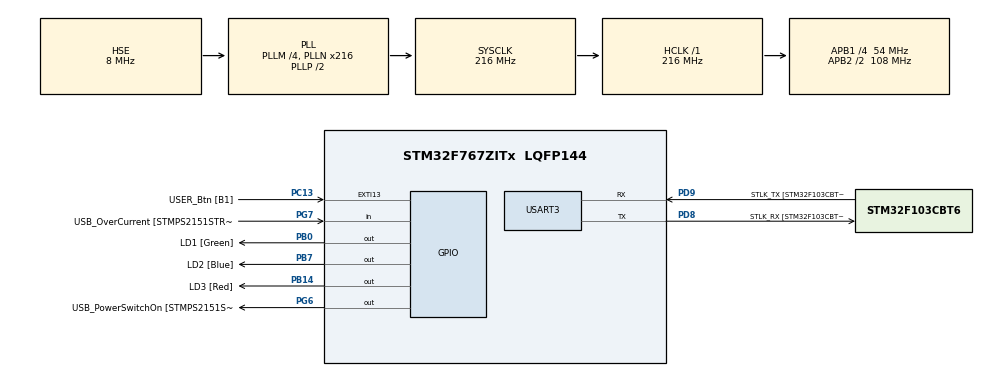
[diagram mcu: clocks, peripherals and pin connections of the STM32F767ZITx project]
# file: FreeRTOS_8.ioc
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FREERTOS.Tasks01=defaultTask,24,128,StartDefaultTask,Default,NULL,Dynamic,NULL,NULL
Mcu.Family=STM32F7
Mcu.Name=STM32F767ZITx
Mcu.Package=LQFP144
NVIC.PriorityGroup=NVIC_PRIORITYGROUP_4
PA1.GPIO_Label=RMII_REF_CLK [LAN8742A-CZ-TR_REFCLK0]
PA1.Signal=ETH_REF_CLK
PA10.GPIO_Label=USB_ID
PA10.Signal=USB_OTG_FS_ID
PA11.GPIO_Label=USB_DM
PA11.Signal=USB_OTG_FS_DM
PA12.GPIO_Label=USB_DP
PA12.Signal=USB_OTG_FS_DP
PA13.GPIO_Label=TMS
PA13.Mode=Serial_Wire
PA13.Signal=SYS_JTMS-SWDIO
PA14.GPIO_Label=TCK
PA14.Mode=Serial_Wire
PA14.Signal=SYS_JTCK-SWCLK
PA2.GPIO_Label=RMII_MDIO [LAN8742A-CZ-TR_MDIO]
PA2.Signal=ETH_MDIO
PA7.GPIO_Label=RMII_CRS_DV [LAN8742A-CZ-TR_CRS_DV]
PA7.Signal=ETH_CRS_DV
PA8.GPIO_Label=USB_SOF [TP1]
PA8.Signal=USB_OTG_FS_SOF
PA9.GPIO_Label=USB_VBUS
PA9.Signal=USB_OTG_FS_VBUS
PB0.GPIO_Label=LD1 [Green]
PB0.Signal=GPIO_Output
PB13.GPIO_Label=RMII_TXD1 [LAN8742A-CZ-TR_TXD1]
PB13.Signal=ETH_TXD1
PB14.GPIO_Label=LD3 [Red]
PB14.Signal=GPIO_Output
PB3.GPIO_Label=SWO
PB3.Signal=SYS_JTDO-SWO
PB7.GPIO_Label=LD2 [Blue]
PB7.Signal=GPIO_Output
PC1.GPIO_Label=RMII_MDC [LAN8742A-CZ-TR_MDC]
PC1.Signal=ETH_MDC
PC13.GPIO_Label=USER_Btn [B1]
PC13.Signal=GPXTI13
PC14/OSC32_IN.Signal=RCC_OSC32_IN
PC15/OSC32_OUT.Signal=RCC_OSC32_OUT
PC4.GPIO_Label=RMII_RXD0 [LAN8742A-CZ-TR_RXD0]
PC4.Signal=ETH_RXD0
PC5.GPIO_Label=RMII_RXD1 [LAN8742A-CZ-TR_RXD1]
PC5.Signal=ETH_RXD1
PD8.GPIO_Label=STLK_RX [STM32F103CBT6_PA3]
PD8.Mode=Asynchronous
PD8.Signal=USART3_TX
PD9.GPIO_Label=STLK_TX [STM32F103CBT6_PA2]
PD9.Mode=Asynchronous
PD9.Signal=USART3_RX
PG11.GPIO_Label=RMII_TX_EN [LAN8742A-CZ-TR_TXEN]
PG11.Signal=ETH_TX_EN
PG13.GPIO_Label=RMII_TXD0 [LAN8742A-CZ-TR_TXD0]
PG13.Signal=ETH_TXD0
PG6.GPIO_Label=USB_PowerSwitchOn [STMPS2151STR_EN]
PG6.Signal=GPIO_Output
PG7.GPIO_Label=USB_OverCurrent [STMPS2151STR_FAULT]
PG7.Signal=GPIO_Input
PH0/OSC_IN.GPIO_Label=MCO [STM32F103CBT6_PA8]
PH0/OSC_IN.Mode=HSE-External-Oscillator
PH0/OSC_IN.Signal=RCC_OSC_IN
PH1/OSC_OUT.Mode=HSE-External-Oscillator
PH1/OSC_OUT.Signal=RCC_OSC_OUT
ProjectManager.HeapSize=0x200
ProjectManager.StackSize=0x400
ProjectManager.TargetToolchain=STM32CubeIDE
RCC.48MHZClocksFreq_Value=24000000
RCC.AHBFreq_Value=216000000
RCC.APB1CLKDivider=RCC_HCLK_DIV4
RCC.APB1Freq_Value=54000000
RCC.APB1TimFreq_Value=108000000
RCC.APB2CLKDivider=RCC_HCLK_DIV2
RCC.APB2Freq_Value=108000000
RCC.APB2TimFreq_Value=216000000
RCC.CortexFreq_Value=216000000
RCC.HCLKFreq_Value=216000000
RCC.HSE_VALUE=8000000
RCC.HSI_VALUE=16000000
RCC.PLLM=4
RCC.PLLMUL=RCC_PLL_MUL9
RCC.PLLN=216
RCC.PLLQ=4
RCC.PLLSourceVirtual=RCC_PLLSOURCE_HSE
RCC.PRESCALERUSB=RCC_USBCLKSOURCE_PLL_DIV1_5
RCC.SYSCLKFreq_VALUE=216000000
RCC.SYSCLKSource=RCC_SYSCLKSOURCE_PLLCLK
RCC.SYSCLKSourceVirtual=RCC_SYSCLKSOURCE_PLLCLK
RCC.USBFreq_Value=108000000
RCC.VCOOutputFreq_Value=432000000
USART3.VirtualMode-Asynchronous=VM_ASYNC
VP_FREERTOS_VS_CMSIS_V2.Mode=CMSIS_V2
board=NUCLEO-F767ZI

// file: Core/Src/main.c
/* USER CODE BEGIN Header */
/**
  ******************************************************************************
  * @file           : main.c
  * @brief          : Main program body
  ******************************************************************************
  * @attention
  *
  * Copyright (c) 2023 STMicroelectronics.
  * All rights reserved.
  *
  * This software is licensed under terms that can be found in the LICENSE file
  * in the root directory of this software component.
  * If no LICENSE file comes with this software, it is provided AS-IS.
  *
  ******************************************************************************
  */
/* USER CODE END Header */
#include "main.h"
#include "cmsis_os.h"
#include "usart.h"
#include "gpio.h"

/* USER CODE BEGIN Includes */
#include "SEGGER_SYSVIEW.h"
#include "semphr.h"
#include "timers.h"
/* USER CODE END Includes */

/* USER CODE BEGIN PD */
#define STACK_SIZE	128
/* USER CODE END PD */

/* USER CODE BEGIN PV */
SemaphoreHandle_t mutexPtr = NULL;

struct DataReading
{
	uint16_t x;
	uint16_t y;
	uint16_t z;
};
struct DataReading sharedData;
/* USER CODE END PV */

void SystemClock_Config(void);
void MX_FREERTOS_Init(void);
/* USER CODE BEGIN PFP */
void GreenTask(void *arg);
void BlueTask(void *arg);
void RedTask(void *arg);

void oneShotCallback(TimerHandle_t xTimerOneShot);
void repeatTimerCallback(TimerHandle_t xTimerRepeat);

/* USER CODE END PFP */

int main(void)
{
  /* USER CODE BEGIN 1 */
  mutexPtr = xSemaphoreCreateMutex();
  assert_param(mutexPtr != NULL);

  /* USER CODE END 1 */

  /* MCU Configuration--------------------------------------------------------*/

  /* Reset of all peripherals, Initializes the Flash interface and the Systick. */
  HAL_Init();

  /* Configure the system clock */
  SystemClock_Config();

  /* Initialize all configured peripherals */
  MX_GPIO_Init();
  MX_USART3_UART_Init();
  /* USER CODE BEGIN 2 */
  SEGGER_SYSVIEW_Conf();

  TimerHandle_t oneShotHandle = xTimerCreate("OneShotTimer", 2200/portTICK_PERIOD_MS, pdFALSE, NULL, oneShotCallback);
  assert_param(oneShotHandle != NULL);

  TimerHandle_t repeatTimerHandle = xTimerCreate("RepeatTimer", 500/portTICK_PERIOD_MS, pdTRUE, NULL, repeatTimerCallback);
  assert_param(repeatTimerHandle != NULL);

  xTimerStart(repeatTimerHandle, 0);
  xTimerStart(oneShotHandle, 0 );

  while(1)
  {
	  if(HAL_GPIO_ReadPin(USER_Btn_GPIO_Port, USER_Btn_Pin))
	  {
		  HAL_GPIO_WritePin(LD2_GPIO_Port, LD2_Pin, GPIO_PIN_SET);
		  break;
	  }
  }

  /* USER CODE END 2 */

  /* Init scheduler */
  osKernelInitialize();  /* Call init function for freertos objects (in freertos.c) */
  MX_FREERTOS_Init();

  /* Start scheduler */
  osKernelStart();

  /* We should never get here as control is now taken by the scheduler */
  /* Infinite loop */
  while (1)
  {

  }
}

void SystemClock_Config(void)
{
  RCC_OscInitTypeDef RCC_OscInitStruct = {0};
  RCC_ClkInitTypeDef RCC_ClkInitStruct = {0};

  /** Configure the main internal regulator output voltage
  */
  __HAL_RCC_PWR_CLK_ENABLE();
  __HAL_PWR_VOLTAGESCALING_CONFIG(PWR_REGULATOR_VOLTAGE_SCALE1);

  /** Initializes the RCC Oscillators according to the specified parameters
  * in the RCC_OscInitTypeDef structure.
  */
  RCC_OscInitStruct.OscillatorType = RCC_OSCILLATORTYPE_HSE;
  RCC_OscInitStruct.HSEState = RCC_HSE_ON;
  RCC_OscInitStruct.PLL.PLLState = RCC_PLL_ON;
  RCC_OscInitStruct.PLL.PLLSource = RCC_PLLSOURCE_HSE;
  RCC_OscInitStruct.PLL.PLLM = 4;
  RCC_OscInitStruct.PLL.PLLN = 216;
  RCC_OscInitStruct.PLL.PLLP = RCC_PLLP_DIV2;
  RCC_OscInitStruct.PLL.PLLQ = 4;
  RCC_OscInitStruct.PLL.PLLR = 2;
  if (HAL_RCC_OscConfig(&RCC_OscInitStruct) != HAL_OK)
  {
    Error_Handler();
  }

  /** Activate the Over-Drive mode
  */
  if (HAL_PWREx_EnableOverDrive() != HAL_OK)
  {
    Error_Handler();
  }

  /** Initializes the CPU, AHB and APB buses clocks
  */
  RCC_ClkInitStruct.ClockType = RCC_CLOCKTYPE_HCLK|RCC_CLOCKTYPE_SYSCLK
                              |RCC_CLOCKTYPE_PCLK1|RCC_CLOCKTYPE_PCLK2;
  RCC_ClkInitStruct.SYSCLKSource = RCC_SYSCLKSOURCE_PLLCLK;
  RCC_ClkInitStruct.AHBCLKDivider = RCC_SYSCLK_DIV1;
  RCC_ClkInitStruct.APB1CLKDivider = RCC_HCLK_DIV4;
  RCC_ClkInitStruct.APB2CLKDivider = RCC_HCLK_DIV2;

  if (HAL_RCC_ClockConfig(&RCC_ClkInitStruct, FLASH_LATENCY_7) != HAL_OK)
  {
    Error_Handler();
  }
}

/* USER CODE BEGIN 4 */

void GreenTask(void *arg)
{

	while(1)
	{

	}
}

void BlueTask(void *arg)
{

	while(1)
	{

	}

}

void RedTask(void *arg)
{

	while(1)
	{

	}

}

void oneShotCallback(TimerHandle_t xTimer)
{
	HAL_GPIO_WritePin(LD2_GPIO_Port, LD2_Pin, GPIO_PIN_RESET);
}

void repeatTimerCallback(TimerHandle_t xTimerRepeat)
{
	HAL_GPIO_TogglePin(LD1_GPIO_Port, LD1_Pin);
}

/* USER CODE END 4 */

void Error_Handler(void)
{
  __disable_irq();
  while (1)
  {
  }
}
